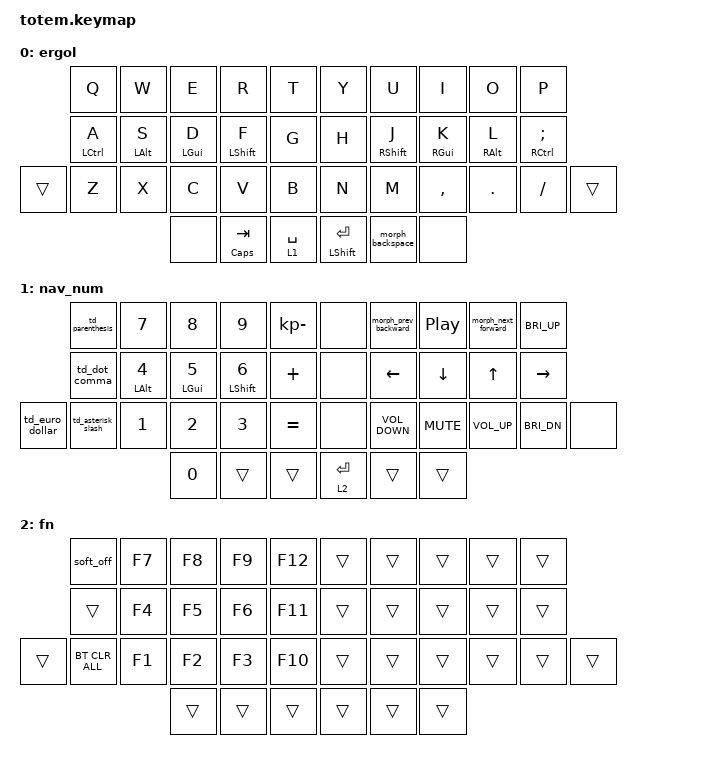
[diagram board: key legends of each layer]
//
//                                                        ▀▀▀▀▀     ▀▀▀▀▀          ▀▀█▀▀
//                                                        ▄▀▀▀▄  ▄  ▄▀▀▀▄  ▄  ▄▀▀▀▄  █  ▄▀▀▀▄
//                                                        █   █  █  █   █  █  █   █  █  █   █
//                                                         ▀▀▀   █   ▀▀▀   █   ▀▀▀   ▀   ▀▀▀
//                                                               █      ▄▄▄█▄▄▄    █   █  
//                                                               ▀      █  █  █     █▄█
//                                                             ▀▀▀▀▀    █  █  █      ▀
//                                                                      ▀  ▀  ▀
//
// ▄▄▄▄▄▄▄▄▄▄▄▄▄▄▄▄▄▄▄▄▄▄▄▄▄▄▄▄▄▄▄▄▄▄▄▄▄▄▄▄▄▄▄▄▄▄▄▄▄▄▄▄▄▄▄▄▄▄▄▄▄▄▄▄▄▄▄▄▄▄▄▄▄▄▄▄▄▄▄▄▄▄▄▄▄▄▄▄▄▄▄▄▄▄▄▄▄▄▄▄▄▄▄▄▄▄▄▄▄▄▄▄▄▄▄▄▄▄▄▄▄▄▄▄▄▄▄▄▄▄▄▄▄▄▄▄▄▄▄▄▄▄▄▄▄▄▄▄▄

#include <behaviors.dtsi>
#include <dt-bindings/zmk/bt.h>
#include <dt-bindings/zmk/keys.h>

&soft_off { hold-time-ms = <0>; };

/ {
    behaviors {
        hmr: hmr {
            compatible = "zmk,behavior-hold-tap";
            label = "Homerow mods right side";
            bindings = <&kp>, <&kp>;

            #binding-cells = <2>;
            tapping-term-ms = <200>;
            quick-tap-ms = <150>;
            flavor = "tap-preferred";
            hold-while-undecided;
            hold-trigger-key-positions = <0 1 2 3 4 10 11 12 13 14 20 21 22 23 24 25 32 33 34>;
            hold-trigger-on-release;
            require-prior-idle-ms = <80>;
        };

        hml: hml {
            compatible = "zmk,behavior-hold-tap";
            label = "Homerow mods left side";
            bindings = <&kp>, <&kp>;

            #binding-cells = <2>;
            tapping-term-ms = <200>;
            quick-tap-ms = <150>;
            flavor = "tap-preferred";
            hold-while-undecided;
            hold-trigger-on-release;
            hold-trigger-key-positions = <5 6 7 8 9 15 16 17 18 19 26 27 28 29 30 31 36 37 35>;
            require-prior-idle-ms = <80>;
        };

        morph_backspace: morph_backspace {
            compatible = "zmk,behavior-mod-morph";
            label = "Tap: backspace / Tap: shift+delete";
            bindings = <&kp BACKSPACE>, <&kp DELETE>;

            #binding-cells = <0>;
            mods = <(MOD_LSFT|MOD_RSFT)>;
            keep-mods = <(MOD_RSFT)>;
        };

        td_equal_euro: td_equal_euro {
            compatible = "zmk,behavior-tap-dance";
            label = "td_equal_euro";
            #binding-cells = <0>;
            bindings = <&kp EQUAL>, <&kp LS(NUMBER_1)>;
        };

        td_dot_comma: td_dot_comma {
            compatible = "zmk,behavior-tap-dance";
            label = "td_dot_comma";
            #binding-cells = <0>;
            bindings = <&kp KP_DOT>, <&kp DOT>;
        };

        td_parenthesis: td_parenthesis {
            compatible = "zmk,behavior-tap-dance";
            label = "td_parenthesis";
            #binding-cells = <0>;
            bindings = <&kp LA(S)>, <&kp LA(D)>;
        };

        td_asterisk_slash: td_asterisk_slash {
            compatible = "zmk,behavior-tap-dance";
            label = "td_asterisk_slash";
            #binding-cells = <0>;
            bindings = <&kp ASTERISK>, <&kp KP_SLASH>;
        };

        td_euro_dollar: td_euro_dollar {
            compatible = "zmk,behavior-tap-dance";
            label = "td_euro_dollar";
            #binding-cells = <0>;
            bindings = <&kp LS(NUMBER_1)>, <&kp LS(NUMBER_4)>;
        };

        td_escape_colon: td_escape_colon {
            compatible = "zmk,behavior-tap-dance";
            label = "TD_ESCAPE_COLON";
            #binding-cells = <0>;
            bindings = <&kp ESCAPE>, <&kp LS(N)>;
        };

        morph_prev_backward: morph_prev_backward {
            compatible = "zmk,behavior-mod-morph";
            label = "MORPH_PREV_BACKWARD";
            bindings = <&kp C_PREV>, <&kp F13>;

            #binding-cells = <0>;
            mods = <(MOD_LSFT|MOD_RSFT)>;
        };

        morph_next_forward: morph_next_forward {
            compatible = "zmk,behavior-mod-morph";
            label = "MORPH_NEXT_FORWARD";
            bindings = <&kp C_NEXT>, <&kp F18>;

            #binding-cells = <0>;
            mods = <(MOD_LSFT|MOD_RSFT)>;
        };
    };

    combos {
        compatible = "zmk,combos";

        combo_esc {
            bindings = <&kp ESCAPE>;
            key-positions = <13 16>;
        };

        combo_colon {
            bindings = <&kp LS(N)>;
            key-positions = <23 28>;
        };

        combo_mouseless_grid {
            bindings = <&kp F15>;
            key-positions = <22 29>;
        };

        combo_mouseless_free {
            bindings = <&kp F16>;
            key-positions = <30 21>;
        };
    };

    keymap {
        compatible = "zmk,keymap";

        ergol {
            bindings = <
        &kp Q                &kp W            &kp E            &kp R              &kp T          &kp Y                 &kp U               &kp I             &kp O             &kp P
        &hml LEFT_CONTROL A  &hml LEFT_ALT S  &hml LEFT_GUI D  &hml LEFT_SHIFT F  &kp G          &kp H                 &hmr RIGHT_SHIFT J  &hmr RIGHT_GUI K  &hmr RIGHT_ALT L  &hmr RIGHT_CONTROL SEMI
&trans  &kp Z                &kp X            &kp C            &kp V              &kp B          &kp N                 &kp M               &kp COMMA         &kp DOT           &kp FSLH                 &trans
                                              &none            &mt CAPSLOCK TAB   &lt 1 SPACE    &mt LEFT_SHIFT ENTER  &morph_backspace    &none
            >;
        };

        nav_num {
            bindings = <
                 &td_parenthesis     &kp N7        &kp N8        &kp N9         &kp KP_MINUS    &none        &morph_prev_backward  &kp C_PP    &morph_next_forward  &kp C_BRI_UP
                 &td_dot_comma       &hml LALT N4  &hml LGUI N5  &hml LSHFT N6  &kp PLUS        &none        &kp LEFT              &kp DOWN    &kp UP               &kp RIGHT
&td_euro_dollar  &td_asterisk_slash  &kp N1        &kp N2        &kp N3         &kp EQUAL       &none        &kp C_VOLUME_DOWN     &kp C_MUTE  &kp C_VOLUME_UP      &kp C_BRI_DN  &none
                                                   &kp NUMBER_0  &trans         &trans          &lt 2 ENTER  &trans                &trans
            >;
        };

        fn {
            bindings = <
        &soft_off       &kp F7  &kp F8  &kp F9  &kp F12    &trans  &trans  &trans  &trans  &trans
        &trans          &kp F4  &kp F5  &kp F6  &kp F11    &trans  &trans  &trans  &trans  &trans
&trans  &bt BT_CLR_ALL  &kp F1  &kp F2  &kp F3  &kp F10    &trans  &trans  &trans  &trans  &trans  &trans
                                &trans  &trans  &trans     &trans  &trans  &trans
            >;
        };
    };

    conditional_layers { compatible = "zmk,conditional-layers"; };
};
